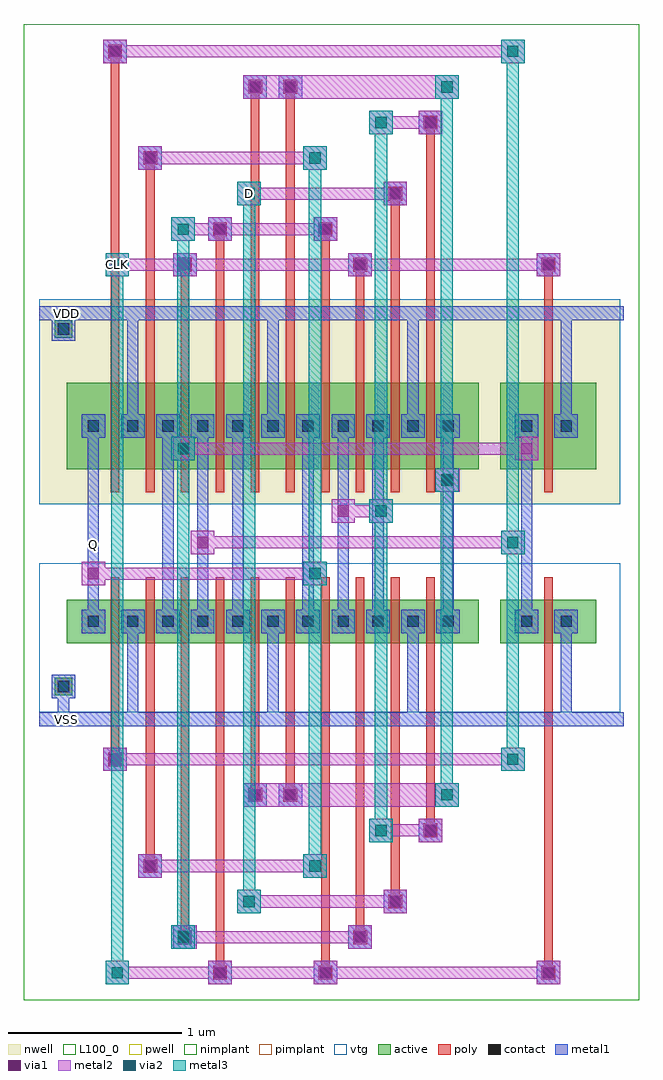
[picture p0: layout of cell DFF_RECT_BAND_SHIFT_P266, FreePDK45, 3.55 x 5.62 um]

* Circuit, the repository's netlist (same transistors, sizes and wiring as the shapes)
* cell DFF_RECT_BAND_SHIFT_P266
* pin CLK
* pin D
* pin Q
* pin VDD
* pin VSS
.SUBCKT DFF_RECT_BAND_SHIFT_P266 1 3 4 12 13
* net 1 CLK
* net 3 D
* net 4 Q
* net 12 VDD
* net 13 VSS
* device instance $1 r0 *1 0.4375,1.73 PMOS_VTG
M$1 12 7 4 12 PMOS_VTG L=0.05U W=0.5U AS=0.12625P AD=0.038125P PS=1.505U
+ PD=0.6525U
* device instance $2 r0 *1 0.64,1.73 PMOS_VTG
M$2 8 4 12 12 PMOS_VTG L=0.05U W=0.5U AS=0.038125P AD=0.0375P PS=0.6525U
+ PD=0.65U
* device instance $3 r0 *1 0.84,1.73 PMOS_VTG
M$3 7 1 8 12 PMOS_VTG L=0.05U W=0.5U AS=0.0375P AD=0.038125P PS=0.65U PD=0.6525U
* device instance $4 r0 *1 1.0425,1.73 PMOS_VTG
M$4 9 2 7 12 PMOS_VTG L=0.05U W=0.5U AS=0.038125P AD=0.038125P PS=0.6525U
+ PD=0.6525U
* device instance $5 r0 *1 1.245,1.73 PMOS_VTG
M$5 12 6 9 12 PMOS_VTG L=0.05U W=0.5U AS=0.038125P AD=0.038125P PS=0.6525U
+ PD=0.6525U
* device instance $6 r0 *1 1.4475,1.73 PMOS_VTG
M$6 10 6 12 12 PMOS_VTG L=0.05U W=0.5U AS=0.038125P AD=0.038125P PS=0.6525U
+ PD=0.6525U
* device instance $7 r0 *1 1.65,1.73 PMOS_VTG
M$7 5 2 10 12 PMOS_VTG L=0.05U W=0.5U AS=0.038125P AD=0.0375P PS=0.6525U
+ PD=0.65U
* device instance $8 r0 *1 1.85,1.73 PMOS_VTG
M$8 11 1 5 12 PMOS_VTG L=0.05U W=0.5U AS=0.0375P AD=0.038125P PS=0.65U
+ PD=0.6525U
* device instance $9 r0 *1 2.0525,1.73 PMOS_VTG
M$9 12 3 11 12 PMOS_VTG L=0.05U W=0.5U AS=0.038125P AD=0.038125P PS=0.6525U
+ PD=0.6525U
* device instance $10 r0 *1 2.255,1.73 PMOS_VTG
M$10 6 5 12 12 PMOS_VTG L=0.05U W=0.5U AS=0.038125P AD=0.12625P PS=0.6525U
+ PD=1.505U
* device instance $11 r0 *1 2.935,1.73 PMOS_VTG
M$11 12 1 2 12 PMOS_VTG L=0.05U W=0.5U AS=0.12625P AD=0.125P PS=1.505U PD=1.5U
* device instance $12 r0 *1 2.935,0.605 NMOS_VTG
M$12 13 1 2 13 NMOS_VTG L=0.05U W=0.25U AS=0.063125P AD=0.0625P PS=1.005U PD=1U
* device instance $13 r0 *1 0.4375,0.605 NMOS_VTG
M$13 13 7 4 13 NMOS_VTG L=0.05U W=0.25U AS=0.063125P AD=0.0190625P PS=1.005U
+ PD=0.4025U
* device instance $14 r0 *1 0.64,0.605 NMOS_VTG
M$14 8 4 13 13 NMOS_VTG L=0.05U W=0.25U AS=0.0190625P AD=0.01875P PS=0.4025U
+ PD=0.4U
* device instance $15 r0 *1 0.84,0.605 NMOS_VTG
M$15 7 2 8 13 NMOS_VTG L=0.05U W=0.25U AS=0.01875P AD=0.0190625P PS=0.4U
+ PD=0.4025U
* device instance $16 r0 *1 1.0425,0.605 NMOS_VTG
M$16 9 1 7 13 NMOS_VTG L=0.05U W=0.25U AS=0.0190625P AD=0.0190625P PS=0.4025U
+ PD=0.4025U
* device instance $17 r0 *1 1.245,0.605 NMOS_VTG
M$17 13 6 9 13 NMOS_VTG L=0.05U W=0.25U AS=0.0190625P AD=0.0190625P PS=0.4025U
+ PD=0.4025U
* device instance $18 r0 *1 1.4475,0.605 NMOS_VTG
M$18 10 6 13 13 NMOS_VTG L=0.05U W=0.25U AS=0.0190625P AD=0.0190625P PS=0.4025U
+ PD=0.4025U
* device instance $19 r0 *1 1.65,0.605 NMOS_VTG
M$19 5 1 10 13 NMOS_VTG L=0.05U W=0.25U AS=0.0190625P AD=0.01875P PS=0.4025U
+ PD=0.4U
* device instance $20 r0 *1 1.85,0.605 NMOS_VTG
M$20 11 2 5 13 NMOS_VTG L=0.05U W=0.25U AS=0.01875P AD=0.0190625P PS=0.4U
+ PD=0.4025U
* device instance $21 r0 *1 2.0525,0.605 NMOS_VTG
M$21 13 3 11 13 NMOS_VTG L=0.05U W=0.25U AS=0.0190625P AD=0.0190625P PS=0.4025U
+ PD=0.4025U
* device instance $22 r0 *1 2.255,0.605 NMOS_VTG
M$22 6 5 13 13 NMOS_VTG L=0.05U W=0.25U AS=0.0190625P AD=0.063125P PS=0.4025U
+ PD=1.005U
.ENDS DFF_RECT_BAND_SHIFT_P266

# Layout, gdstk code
import gdstk
lib = gdstk.Library(unit=1e-6, precision=2.5e-09)
def R(c, l, rs):  # rectangles x0, y0, x1, y1
    for r in rs: c.add(gdstk.rectangle(r[:2], r[2:], *l))
def A(c, l, x, y, w, h, nx, ny, dx, dy):  # array of equal rectangles
    R(c, l, [(x+i*dx, y+j*dy, x+i*dx+w, y+j*dy+h) for i in range(nx) for j in range(ny)])
active = (1, 0)
pwell = (2, 0)
nwell = (3, 0)
nimplant = (4, 0)
pimplant = (5, 0)
vtg = (6, 0)
poly = (9, 0)
contact = (10, 0)
metal1 = (11, 0)
via1 = (12, 0)
metal2 = (13, 0)
via2 = (14, 0)
metal3 = (15, 0)
L100_0 = (100, 0)

dff_rect_band_shift_p266 = lib.new_cell('DFF_RECT_BAND_SHIFT_P266')
R(dff_rect_band_shift_p266, active, [(0.09,0.18,0.19,0.28), (0.16,0.48,2.5325,0.73), (2.6575,0.48,3.21,0.73), (0.16,1.48,2.5325,1.98), (2.6575,1.48,3.21,1.98), (0.09,2.24,0.19,2.34)])
R(dff_rect_band_shift_p266, pwell, [(0,0.08,3.35,0.94), (0.02,0.24,3.35,0.94)])
R(dff_rect_band_shift_p266, nwell, [(0,1.28,3.35,2.46), (0.02,1.28,3.35,2.2)])
R(dff_rect_band_shift_p266, nimplant, [(0.16,0.48,2.5325,0.73), (2.6575,0.48,3.21,0.73), (0.09,2.24,0.19,2.34)])
R(dff_rect_band_shift_p266, pimplant, [(0.09,0.18,0.19,0.28), (0.16,1.48,2.5325,1.98), (2.6575,1.48,3.21,1.98)])
R(dff_rect_band_shift_p266, vtg, [(0,0.08,3.35,0.94), (0.02,0.24,3.35,0.94), (0,1.28,3.35,2.46), (0.02,1.28,3.35,2.2)])
A(dff_rect_band_shift_p266, poly, 0.815, 0.35, 0.05, 0.51, 5, 1, 0.2025, 0)
A(dff_rect_band_shift_p266, poly, 1.825, 0.35, 0.05, 0.51, 3, 1, 0.2025, 0)
A(dff_rect_band_shift_p266, poly, 0.815, 1.35, 0.05, 0.76, 5, 1, 0.2025, 0)
A(dff_rect_band_shift_p266, poly, 1.825, 1.35, 0.05, 0.76, 3, 1, 0.2025, 0)
R(dff_rect_band_shift_p266, poly, [(1.0025,-1.46,1.0825,-1.38), (1.0175,-1.46,1.0675,0.35), (1.61,-1.46,1.69,-1.38), (1.625,-1.46,1.675,0.35), (2.895,-1.46,2.975,-1.38), (2.91,-1.46,2.96,0.35), (0.8,-1.255,0.88,-1.175), (0.815,-1.255,0.865,0.35), (1.81,-1.255,1.89,-1.175), (1.825,-1.255,1.875,0.35), (2.0125,-1.05,2.0925,-0.97), (2.0275,-1.05,2.0775,0.35), (0.6,-0.845,0.68,-0.765), (0.615,-0.845,0.665,0.35), (2.215,-0.64,2.295,-0.56), (2.23,-0.64,2.28,0.35), (1.205,-0.435,1.285,-0.355), (1.22,-0.435,1.27,0.35), (1.4075,-0.435,1.4875,-0.355), (1.4225,-0.435,1.4725,0.35), (0.3975,-0.23,0.4775,-0.15), (0.4125,-0.23,0.4625,0.35), (0.4125,0.35,0.4625,0.86), (0.615,0.35,0.665,0.86), (2.91,0.35,2.96,0.86), (0.4125,1.35,0.4625,2.11), (0.615,1.35,0.665,2.11), (2.91,1.35,2.96,2.11), (0.4125,2.11,0.4625,3.93), (0.615,2.11,0.665,3.315), (0.815,2.11,0.865,2.7), (1.0175,2.11,1.0675,2.905), (1.22,2.11,1.27,3.725), (1.4225,2.11,1.4725,3.725), (1.625,2.11,1.675,2.905), (1.825,2.11,1.875,2.7), (2.0275,2.11,2.0775,3.11), (2.23,2.11,2.28,3.52), (2.91,2.11,2.96,2.7), (0.8,2.62,0.88,2.7), (1.81,2.62,1.89,2.7), (2.895,2.62,2.975,2.7), (1.0025,2.825,1.0825,2.905), (1.61,2.825,1.69,2.905), (2.0125,3.03,2.0925,3.11), (0.6,3.235,0.68,3.315), (2.215,3.44,2.295,3.52), (1.205,3.645,1.285,3.725), (1.4075,3.645,1.4875,3.725), (0.3975,3.85,0.4775,3.93)])
A(dff_rect_band_shift_p266, contact, 0.91, 0.5725, 0.065, 0.065, 5, 2, 0.2025, 1.125)
A(dff_rect_band_shift_p266, contact, 1.92, 0.5725, 0.065, 0.065, 3, 2, 0.2025, 1.125)
R(dff_rect_band_shift_p266, contact, [(1.01,-1.4525,1.075,-1.3875), (1.6175,-1.4525,1.6825,-1.3875), (2.9025,-1.4525,2.9675,-1.3875), (0.8075,-1.2475,0.8725,-1.1825), (1.8175,-1.2475,1.8825,-1.1825), (2.02,-1.0425,2.085,-0.9775), (0.6075,-0.8375,0.6725,-0.7725), (2.2225,-0.6325,2.2875,-0.5675), (1.2125,-0.4275,1.2775,-0.3625), (1.415,-0.4275,1.48,-0.3625), (0.405,-0.2225,0.47,-0.1575), (0.1075,0.1975,0.1725,0.2625), (0.28,0.5725,0.345,0.6375), (0.5075,0.5725,0.5725,0.6375), (0.71,0.5725,0.775,0.6375), (2.7775,0.5725,2.8425,0.6375), (3.005,0.5725,3.07,0.6375), (0.28,1.6975,0.345,1.7625), (0.5075,1.6975,0.5725,1.7625), (0.71,1.6975,0.775,1.7625), (2.7775,1.6975,2.8425,1.7625), (3.005,1.6975,3.07,1.7625), (0.1075,2.2575,0.1725,2.3225), (0.8075,2.6275,0.8725,2.6925), (1.8175,2.6275,1.8825,2.6925), (2.9025,2.6275,2.9675,2.6925), (1.01,2.8325,1.075,2.8975), (1.6175,2.8325,1.6825,2.8975), (2.02,3.0375,2.085,3.1025), (0.6075,3.2425,0.6725,3.3075), (2.2225,3.4475,2.2875,3.5125), (1.2125,3.6525,1.2775,3.7175), (1.415,3.6525,1.48,3.7175), (0.405,3.8575,0.47,3.9225)])
A(dff_rect_band_shift_p266, metal1, 0.5075, 0.04, 0.065, 0.565, 3, 1, 0.8075, 0)
A(dff_rect_band_shift_p266, metal1, 0.875, 0.5375, 0.135, 0.135, 5, 2, 0.2025, 1.125)
A(dff_rect_band_shift_p266, metal1, 1.885, 0.5375, 0.135, 0.135, 3, 2, 0.2025, 1.125)
A(dff_rect_band_shift_p266, metal1, 0.5075, 1.73, 0.065, 0.65, 3, 1, 0.8075, 0)
R(dff_rect_band_shift_p266, metal1, [(0.975,-1.4875,1.11,-1.3525), (1.5825,-1.4875,1.7175,-1.3525), (2.8675,-1.4875,3.0025,-1.3525), (0.7725,-1.2825,0.9075,-1.1475), (1.7825,-1.2825,1.9175,-1.1475), (1.985,-1.0775,2.12,-0.9425), (0.5725,-0.8725,0.7075,-0.7375), (2.1875,-0.6675,2.3225,-0.5325), (1.1775,-0.4625,1.3125,-0.3275), (1.38,-0.4625,1.515,-0.3275), (0.37,-0.2575,0.505,-0.1225), (0,0,3.37,0.08), (0.1075,0.04,0.1725,0.23), (3.005,0.04,3.07,0.605), (0.0725,0.1625,0.2075,0.2975), (0.245,0.5375,0.38,0.6725), (0.4725,0.5375,0.6075,0.6725), (0.675,0.5375,0.81,0.6725), (2.7425,0.5375,2.8775,0.6725), (2.97,0.5375,3.105,0.6725), (0.28,0.605,0.345,1.73), (0.71,0.605,0.775,1.73), (0.91,0.605,0.975,1.73), (1.1125,0.605,1.1775,1.73), (1.5175,0.605,1.5825,1.73), (1.72,0.605,1.785,1.73), (1.92,0.605,1.985,1.73), (2.325,0.605,2.39,1.73), (2.7775,0.605,2.8425,1.73), (0.245,1.6625,0.38,1.7975), (0.4725,1.6625,0.6075,1.7975), (0.675,1.6625,0.81,1.7975), (2.7425,1.6625,2.8775,1.7975), (2.97,1.6625,3.105,1.7975), (3.005,1.73,3.07,2.38), (0.0725,2.2225,0.2075,2.3575), (0.1075,2.29,0.1725,2.38), (0,2.34,3.37,2.42), (0.7725,2.5925,0.9075,2.7275), (1.7825,2.5925,1.9175,2.7275), (2.8675,2.5925,3.0025,2.7275), (0.975,2.7975,1.11,2.9325), (1.5825,2.7975,1.7175,2.9325), (1.985,3.0025,2.12,3.1375), (0.5725,3.2075,0.7075,3.3425), (2.1875,3.4125,2.3225,3.5475), (1.1775,3.6175,1.3125,3.7525), (1.38,3.6175,1.515,3.7525), (0.37,3.8225,0.505,3.9575)])
R(dff_rect_band_shift_p266, via1, [(1.01,-1.4525,1.075,-1.3875), (1.6175,-1.4525,1.6825,-1.3875), (2.9025,-1.4525,2.9675,-1.3875), (0.8075,-1.2475,0.8725,-1.1825), (1.8175,-1.2475,1.8825,-1.1825), (2.02,-1.0425,2.085,-0.9775), (0.6075,-0.8375,0.6725,-0.7725), (2.2225,-0.6325,2.2875,-0.5675), (1.2125,-0.4275,1.2775,-0.3625), (1.415,-0.4275,1.48,-0.3625), (0.405,-0.2225,0.47,-0.1575), (0.28,0.8475,0.345,0.9125), (0.91,1.0275,0.975,1.0925), (1.72,1.2075,1.785,1.2725), (2.325,1.3875,2.39,1.4525), (2.7775,1.5675,2.8425,1.6325), (0.8075,2.6275,0.8725,2.6925), (1.8175,2.6275,1.8825,2.6925), (2.9025,2.6275,2.9675,2.6925), (1.01,2.8325,1.075,2.8975), (1.6175,2.8325,1.6825,2.8975), (2.02,3.0375,2.085,3.1025), (0.6075,3.2425,0.6725,3.3075), (2.2225,3.4475,2.2875,3.5125), (1.2125,3.6525,1.2775,3.7175), (1.415,3.6525,1.48,3.7175), (0.405,3.8575,0.47,3.9225)])
R(dff_rect_band_shift_p266, metal2, [(0.3825,-1.4875,0.5175,-1.3525), (0.3825,-1.4875,0.5175,-1.3525), (0.3825,-1.4875,0.5175,-1.3525), (0.975,-1.4875,1.11,-1.3525), (1.5825,-1.4875,1.7175,-1.3525), (2.8675,-1.4875,3.0025,-1.3525), (0.415,-1.455,2.97,-1.385), (0.415,-1.455,1.0775,-1.385), (0.415,-1.455,1.685,-1.385), (0.7625,-1.2825,0.8975,-1.1475), (0.7625,-1.2825,0.8975,-1.1475), (0.7725,-1.2825,0.9075,-1.1475), (1.7825,-1.2825,1.9175,-1.1475), (0.795,-1.25,0.875,-1.18), (0.795,-1.25,1.885,-1.18), (1.1425,-1.0775,1.2775,-0.9425), (1.985,-1.0775,2.12,-0.9425), (1.175,-1.045,2.0875,-0.975), (0.5725,-0.8725,0.7075,-0.7375), (1.5225,-0.8725,1.6575,-0.7375), (0.605,-0.84,1.625,-0.77), (1.9025,-0.6675,2.0375,-0.5325), (2.1875,-0.6675,2.3225,-0.5325), (1.935,-0.635,2.29,-0.565), (1.1775,-0.4625,1.3125,-0.3275), (1.1775,-0.4625,2.4175,-0.3275), (1.38,-0.4625,1.515,-0.3275), (2.2825,-0.4625,2.4175,-0.3275), (2.2825,-0.4625,2.4175,-0.3275), (1.21,-0.43,2.385,-0.36), (1.4125,-0.43,2.385,-0.36), (0.37,-0.2575,0.505,-0.1225), (2.6625,-0.2575,2.7975,-0.1225), (0.4025,-0.225,2.765,-0.155), (0.245,0.8125,0.38,0.9475), (1.5225,0.8125,1.6575,0.9475), (0.2775,0.845,1.625,0.915), (0.875,0.9925,1.01,1.1275), (2.6625,0.9925,2.7975,1.1275), (0.9075,1.025,2.765,1.095), (1.685,1.1725,1.82,1.3075), (1.9025,1.1725,2.0375,1.3075), (1.7175,1.205,2.005,1.275), (2.2825,1.3525,2.4175,1.4875), (2.29,1.3525,2.425,1.4875), (2.315,1.385,2.3925,1.455), (0.7625,1.5325,0.8975,1.6675), (2.7425,1.5325,2.8775,1.6675), (0.795,1.565,2.845,1.635), (0.3825,2.5925,0.5175,2.7275), (0.3825,2.5925,0.5175,2.7275), (0.3825,2.5925,0.5175,2.7275), (0.7725,2.5925,0.9075,2.7275), (1.7825,2.5925,1.9175,2.7275), (2.8675,2.5925,3.0025,2.7275), (0.415,2.625,0.875,2.695), (0.415,2.625,1.885,2.695), (0.415,2.625,2.97,2.695), (0.7625,2.7975,0.8975,2.9325), (0.7625,2.7975,0.8975,2.9325), (0.975,2.7975,1.11,2.9325), (1.5825,2.7975,1.7175,2.9325), (0.795,2.83,1.0775,2.9), (0.795,2.83,1.685,2.9), (1.1425,3.0025,1.2775,3.1375), (1.985,3.0025,2.12,3.1375), (1.175,3.035,2.0875,3.105), (0.5725,3.2075,0.7075,3.3425), (1.5225,3.2075,1.6575,3.3425), (0.605,3.24,1.625,3.31), (1.9025,3.4125,2.0375,3.5475), (2.1875,3.4125,2.3225,3.5475), (1.935,3.445,2.29,3.515), (1.1775,3.6175,1.3125,3.7525), (1.1775,3.6175,2.4175,3.7525), (1.38,3.6175,1.515,3.7525), (2.2825,3.6175,2.4175,3.7525), (2.2825,3.6175,2.4175,3.7525), (1.21,3.65,2.385,3.72), (1.4125,3.65,2.385,3.72), (0.37,3.8225,0.505,3.9575), (2.6625,3.8225,2.7975,3.9575), (0.4025,3.855,2.765,3.925)])
R(dff_rect_band_shift_p266, via2, [(0.4175,-1.4525,0.4825,-1.3875), (0.4175,-1.4525,0.4825,-1.3875), (0.4175,-1.4525,0.4825,-1.3875), (0.7975,-1.2475,0.8625,-1.1825), (0.7975,-1.2475,0.8625,-1.1825), (1.1775,-1.0425,1.2425,-0.9775), (1.5575,-0.8375,1.6225,-0.7725), (1.9375,-0.6325,2.0025,-0.5675), (2.3175,-0.4275,2.3825,-0.3625), (2.3175,-0.4275,2.3825,-0.3625), (2.6975,-0.2225,2.7625,-0.1575), (1.5575,0.8475,1.6225,0.9125), (2.6975,1.0275,2.7625,1.0925), (1.9375,1.2075,2.0025,1.2725), (2.3175,1.3875,2.3825,1.4525), (0.7975,1.5675,0.8625,1.6325), (0.4175,2.6275,0.4825,2.6925), (0.4175,2.6275,0.4825,2.6925), (0.4175,2.6275,0.4825,2.6925), (0.7975,2.8325,0.8625,2.8975), (0.7975,2.8325,0.8625,2.8975), (1.1775,3.0375,1.2425,3.1025), (1.5575,3.2425,1.6225,3.3075), (1.9375,3.4475,2.0025,3.5125), (2.3175,3.6525,2.3825,3.7175), (2.3175,3.6525,2.3825,3.7175), (2.6975,3.8575,2.7625,3.9225)])
R(dff_rect_band_shift_p266, metal3, [(0.3825,-1.4875,0.5175,-1.3525), (0.3825,-1.4875,0.5175,-1.3525), (0.3825,-1.4875,0.5175,-1.3525), (0.415,-1.455,0.485,2.695), (0.7625,-1.2825,0.8975,-1.1475), (0.7625,-1.2825,0.8975,-1.1475), (0.795,-1.25,0.865,2.9), (1.1425,-1.0775,1.2775,-0.9425), (1.175,-1.045,1.245,3.105), (1.5225,-0.8725,1.6575,-0.7375), (1.555,-0.84,1.625,3.31), (1.9025,-0.6675,2.0375,-0.5325), (1.935,-0.635,2.005,3.515), (2.2825,-0.4625,2.4175,-0.3275), (2.2825,-0.4625,2.4175,-0.3275), (2.315,-0.43,2.385,3.72), (2.6625,-0.2575,2.7975,-0.1225), (2.695,-0.225,2.765,3.925), (1.5225,0.8125,1.6575,0.9475), (2.6625,0.9925,2.7975,1.1275), (1.9025,1.1725,2.0375,1.3075), (2.2825,1.3525,2.4175,1.4875), (0.7625,1.5325,0.8975,1.6675), (0.3825,2.5925,0.5175,2.7275), (0.3825,2.5925,0.5175,2.7275), (0.3825,2.5925,0.5175,2.7275), (0.7625,2.7975,0.8975,2.9325), (0.7625,2.7975,0.8975,2.9325), (1.1425,3.0025,1.2775,3.1375), (1.5225,3.2075,1.6575,3.3425), (1.9025,3.4125,2.0375,3.5475), (2.2825,3.6175,2.4175,3.7525), (2.2825,3.6175,2.4175,3.7525), (2.6625,3.8225,2.7975,3.9575)])
R(dff_rect_band_shift_p266, L100_0, [(-0.09,-1.5775,3.46,4.0475)])
dff_rect_band_shift_p266.add(gdstk.Label('VDD', (0.16,2.38), layer=11, texttype=0))
dff_rect_band_shift_p266.add(gdstk.Label('VSS', (0.16,0.04), layer=11, texttype=0))
dff_rect_band_shift_p266.add(gdstk.Label('Q', (0.3125,1.05), layer=11, texttype=0))
dff_rect_band_shift_p266.add(gdstk.Label('CLK', (0.45,2.66), layer=15, texttype=0))
dff_rect_band_shift_p266.add(gdstk.Label('D', (1.21,3.07), layer=15, texttype=0))

lib.write_gds('DFF_RECT_BAND_SHIFT_P266.gds')
